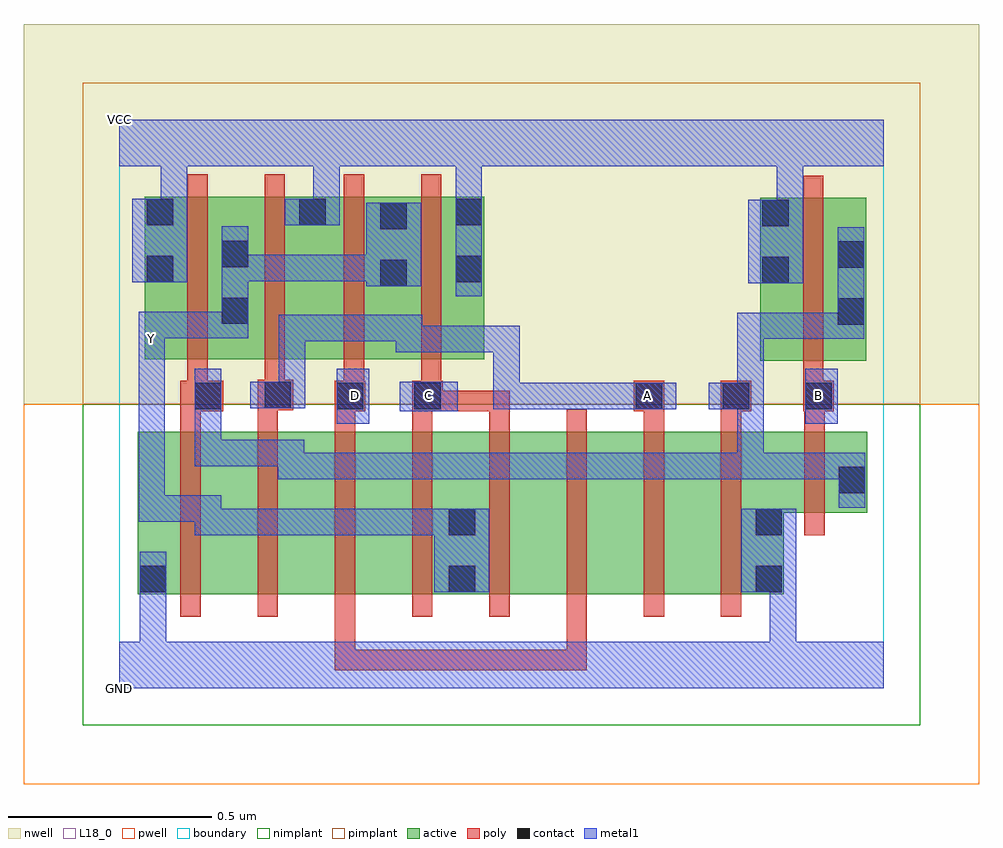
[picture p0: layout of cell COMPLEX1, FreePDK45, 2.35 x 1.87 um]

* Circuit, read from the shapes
.subckt COMPLEX1 A B C D GND VCC Y
M1 n1 n2 GND VSUBS nfet w=0.4u l=0.05u
M2 n3 A n1 VSUBS nfet w=0.4u l=0.05u
M3 n4 D n3 VSUBS nfet w=0.4u l=0.05u
M4 Y C n4 VSUBS nfet w=0.4u l=0.05u
M5 n5 C Y VSUBS nfet w=0.4u l=0.05u
M6 n6 D n5 VSUBS nfet w=0.4u l=0.05u
M7 n7 A n6 VSUBS nfet w=0.4u l=0.05u
M8 GND n2 n7 VSUBS nfet w=0.4u l=0.05u
M9 n2 B GND VSUBS nfet w=0.2u l=0.05u
M10 Y n2 VCC n8 pfet w=0.4u l=0.05u
M11 VCC A Y n8 pfet w=0.4u l=0.05u
M12 Y D VCC n8 pfet w=0.4u l=0.05u
M13 VCC C Y n8 pfet w=0.4u l=0.05u
M14 n2 B VCC n8 pfet w=0.4u l=0.05u
.ends

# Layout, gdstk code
import gdstk
lib = gdstk.Library(unit=1e-6, precision=1e-09)
def R(c, l, rs):  # rectangles x0, y0, x1, y1
    for r in rs: c.add(gdstk.rectangle(r[:2], r[2:], *l))
def A(c, l, x, y, w, h, nx, ny, dx, dy):  # array of equal rectangles
    R(c, l, [(x+i*dx, y+j*dy, x+i*dx+w, y+j*dy+h) for i in range(nx) for j in range(ny)])
active = (1, 0)
pwell = (2, 0)
nwell = (3, 0)
nimplant = (4, 0)
pimplant = (5, 0)
poly = (9, 0)
contact = (10, 0)
metal1 = (11, 0)
L18_0 = (18, 0)
boundary = (235, 0)

complex1 = lib.new_cell('COMPLEX1')
R(complex1, active, [(0.045,0.232,0.27,0.632), (0.045,0.232,0.12,0.632), (0.27,0.232,0.46,0.632), (0.46,0.232,0.65,0.632), (0.65,0.232,0.88,0.632), (0.805,0.232,1.03,0.632), (0.805,0.232,0.88,0.617), (1.03,0.232,1.22,0.632), (1.22,0.232,1.41,0.632), (1.41,0.232,1.635,0.632), (1.56,0.232,1.635,0.597), (1.56,0.432,1.84,0.632), (1.765,0.432,1.84,0.632), (1.577,0.807,1.652,1.207), (1.577,0.807,1.837,1.207), (1.762,0.807,1.837,1.155), (0.062,0.81,0.137,1.21), (0.062,0.81,0.322,1.21), (0.247,0.81,0.512,1.21), (0.437,0.81,0.712,1.21), (0.637,0.81,0.897,1.21), (0.822,0.81,0.897,1.21), (0.247,0.892,0.322,1.155), (0.437,0.907,0.512,1.21), (0.637,0.907,0.712,1.2)])
R(complex1, pwell, [(-0.235,-0.235,2.115,0.7)])
R(complex1, nwell, [(-0.235,0.7,2.115,1.635)])
R(complex1, nimplant, [(-0.09,-0.09,1.97,0.7)])
R(complex1, pimplant, [(-0.09,0.7,1.97,1.49)])
A(complex1, poly, 0.15, 0.177, 0.05, 0.51, 8, 1, 0.19, 0)
A(complex1, poly, 0.53, 0.637, 0.05, 0.095, 3, 1, 0.19, 0)
R(complex1, poly, [(0.53,0.045,0.58,0.227), (0.53,0.045,0.58,0.095), (0.53,0.045,0.827,0.095), (0.777,0.045,0.827,0.095), (0.777,0.045,0.827,0.095), (0.777,0.045,0.827,0.095), (0.777,0.045,0.96,0.095), (0.91,0.045,0.96,0.095), (0.91,0.045,0.96,0.095), (0.91,0.045,0.96,0.095), (0.91,0.045,1.15,0.095), (1.1,0.045,1.15,0.227), (1.1,0.045,1.15,0.095), (1.1,0.045,1.15,0.095), (1.1,0.045,1.15,0.095), (1.685,0.377,1.735,0.687), (0.15,0.637,0.2,0.732), (0.34,0.637,0.39,0.735), (1.29,0.637,1.34,0.732), (1.48,0.637,1.53,0.732), (1.685,0.637,1.735,0.732), (0.15,0.682,0.255,0.757), (0.53,0.682,0.605,0.757), (0.72,0.682,0.795,0.757), (0.745,0.682,0.96,0.732), (0.91,0.682,0.96,0.732), (0.91,0.682,0.96,0.732), (0.91,0.682,0.96,0.732), (1.265,0.682,1.34,0.757), (1.48,0.682,1.555,0.757), (1.682,0.682,1.757,0.757), (0.34,0.685,0.427,0.76), (0.167,0.707,0.217,0.805), (0.552,0.707,0.602,0.805), (0.742,0.707,0.792,0.805), (1.682,0.707,1.732,0.802), (0.357,0.71,0.407,0.805), (1.682,0.752,1.732,1.262), (0.167,0.755,0.217,1.265), (0.357,0.755,0.407,1.265), (0.552,0.755,0.602,1.265), (0.742,0.755,0.792,1.265)])
R(complex1, contact, [(0.05,0.237,0.115,0.302), (0.81,0.237,0.875,0.302), (1.565,0.237,1.63,0.302), (0.81,0.377,0.875,0.442), (1.565,0.377,1.63,0.442), (1.77,0.48,1.835,0.545), (0.185,0.687,0.25,0.752), (0.535,0.687,0.6,0.752), (0.725,0.687,0.79,0.752), (1.27,0.687,1.335,0.752), (1.485,0.687,1.55,0.752), (1.687,0.687,1.752,0.752), (0.357,0.69,0.422,0.755), (1.767,0.895,1.832,0.96), (0.252,0.897,0.317,0.962), (0.642,0.99,0.707,1.055), (1.582,0.997,1.647,1.062), (0.067,1,0.132,1.065), (0.827,1,0.892,1.065), (1.767,1.035,1.832,1.1), (0.252,1.037,0.317,1.102), (0.642,1.13,0.707,1.195), (1.582,1.137,1.647,1.202), (0.067,1.14,0.132,1.205), (0.442,1.14,0.507,1.205), (0.827,1.14,0.892,1.205)])
R(complex1, metal1, [(0,0,1.88,0.115), (0.05,0.05,0.115,0.115), (0.05,0.05,0.115,0.115), (0.05,0.05,0.115,0.267), (1.6,0.05,1.665,0.115), (1.6,0.05,1.665,0.115), (1.6,0.05,1.665,0.302), (0.05,0.202,0.115,0.337), (0.775,0.237,0.91,0.442), (1.53,0.237,1.665,0.442), (0.185,0.377,0.455,0.442), (0.185,0.377,0.25,0.475), (0.39,0.377,0.455,0.442), (0.39,0.377,0.455,0.442), (0.39,0.377,0.455,0.442), (0.39,0.377,0.595,0.442), (0.53,0.377,0.595,0.442), (0.53,0.377,0.595,0.442), (0.53,0.377,0.595,0.442), (0.53,0.377,0.84,0.442), (0.775,0.377,0.84,0.442), (0.775,0.377,0.84,0.442), (0.047,0.41,0.112,0.475), (0.047,0.41,0.25,0.475), (0.047,0.41,0.112,0.857), (0.185,0.41,0.25,0.475), (0.185,0.41,0.25,0.475), (1.77,0.445,1.835,0.58), (0.39,0.515,0.455,0.58), (0.39,0.515,0.455,0.58), (0.39,0.515,0.607,0.58), (0.39,0.515,0.455,0.612), (0.542,0.515,0.607,0.58), (0.542,0.515,0.607,0.58), (0.542,0.515,0.607,0.58), (0.542,0.515,0.847,0.58), (0.782,0.515,0.847,0.58), (0.782,0.515,0.847,0.58), (0.782,0.515,0.847,0.58), (0.782,0.515,0.985,0.58), (0.92,0.515,0.985,0.58), (0.92,0.515,1.122,0.58), (1.057,0.515,1.122,0.58), (1.057,0.515,1.122,0.58), (1.057,0.515,1.122,0.58), (1.057,0.515,1.31,0.58), (1.245,0.515,1.31,0.58), (1.245,0.515,1.31,0.58), (1.245,0.515,1.31,0.58), (1.245,0.515,1.447,0.58), (1.382,0.515,1.447,0.58), (1.382,0.515,1.585,0.58), (1.52,0.515,1.585,0.58), (1.52,0.515,1.585,0.58), (1.52,0.515,1.585,0.58), (1.52,0.515,1.835,0.58), (1.52,0.515,1.585,0.752), (1.77,0.515,1.835,0.58), (1.77,0.515,1.835,0.58), (0.185,0.547,0.25,0.612), (0.185,0.547,0.455,0.612), (0.185,0.547,0.25,0.717), (0.185,0.652,0.25,0.717), (0.185,0.652,0.25,0.717), (0.185,0.652,0.25,0.787), (0.535,0.652,0.615,0.787), (1.687,0.652,1.767,0.787), (0.69,0.682,0.832,0.755), (0.92,0.687,0.985,0.752), (0.92,0.687,0.985,0.752), (0.92,0.687,0.985,0.752), (0.92,0.687,1.16,0.752), (0.92,0.687,0.985,0.892), (1.095,0.687,1.16,0.752), (1.095,0.687,1.16,0.752), (1.095,0.687,1.16,0.752), (1.095,0.687,1.297,0.752), (1.232,0.687,1.297,0.752), (1.232,0.687,1.297,0.752), (1.232,0.687,1.37,0.752), (1.45,0.687,1.585,0.752), (1.52,0.687,1.585,0.752), (1.52,0.687,1.585,0.752), (1.52,0.687,1.585,0.925), (0.322,0.69,0.457,0.755), (0.392,0.69,0.457,0.755), (0.392,0.69,0.457,0.755), (0.392,0.69,0.457,0.92), (0.047,0.792,0.112,0.857), (0.047,0.792,0.112,0.857), (0.047,0.792,0.112,0.927), (0.68,0.827,0.985,0.892), (0.68,0.827,0.745,0.92), (0.92,0.827,0.985,0.892), (0.392,0.855,0.457,0.92), (0.392,0.855,0.595,0.92), (0.53,0.855,0.595,0.92), (0.53,0.855,0.71,0.92), (0.645,0.855,0.71,0.92), (0.645,0.855,0.745,0.92), (1.52,0.86,1.585,0.925), (1.52,0.86,1.832,0.925), (1.767,0.86,1.832,0.925), (1.767,0.86,1.832,0.925), (1.767,0.86,1.832,1.135), (0.047,0.862,0.112,0.927), (0.047,0.862,0.112,0.927), (0.047,0.862,0.112,0.927), (0.047,0.862,0.112,0.927), (0.047,0.862,0.317,0.927), (0.252,0.862,0.317,1.137), (0.827,0.965,0.892,1.24), (0.607,0.99,0.742,1.195), (1.547,0.997,1.682,1.202), (0.032,1,0.167,1.205), (0.252,1.002,0.317,1.067), (0.252,1.002,0.317,1.137), (0.252,1.002,0.455,1.067), (0.39,1.002,0.455,1.067), (0.39,1.002,0.455,1.067), (0.39,1.002,0.455,1.067), (0.39,1.002,0.607,1.067), (0.542,1.002,0.607,1.067), (0.542,1.002,0.672,1.067), (1.617,1.137,1.682,1.35), (0.102,1.14,0.167,1.35), (0.407,1.14,0.542,1.205), (0.477,1.14,0.542,1.35), (0.827,1.175,0.892,1.35), (0,1.285,1.88,1.4)])
A(complex1, L18_0, 0.047, 0.792, 0.065, 0.065, 1, 3, 0, 0.035)
R(complex1, L18_0, [(0,0,1.88,0.115), (0.05,0.05,0.115,0.115), (0.05,0.05,0.115,0.115), (0.05,0.05,0.115,0.267), (1.6,0.05,1.665,0.115), (1.6,0.05,1.665,0.115), (1.6,0.05,1.665,0.302), (0.05,0.202,0.115,0.337), (0.775,0.237,0.91,0.442), (1.53,0.237,1.665,0.442), (0.185,0.377,0.25,0.475), (0.185,0.377,0.455,0.442), (0.39,0.377,0.455,0.442), (0.39,0.377,0.455,0.442), (0.39,0.377,0.455,0.442), (0.39,0.377,0.595,0.442), (0.53,0.377,0.595,0.442), (0.53,0.377,0.595,0.442), (0.53,0.377,0.595,0.442), (0.53,0.377,0.84,0.442), (0.775,0.377,0.84,0.442), (0.775,0.377,0.84,0.442), (0.047,0.41,0.112,0.475), (0.047,0.41,0.112,0.857), (0.047,0.41,0.25,0.475), (0.185,0.41,0.25,0.475), (0.185,0.41,0.25,0.475), (0.535,0.652,0.615,0.787), (1.687,0.652,1.767,0.787), (0.69,0.682,0.832,0.755), (0.547,0.687,0.612,0.752), (0.727,0.687,0.792,0.752), (0.92,0.687,0.985,0.752), (0.92,0.687,0.985,0.752), (0.92,0.687,0.985,0.752), (0.92,0.687,0.985,0.892), (0.92,0.687,1.16,0.752), (1.095,0.687,1.16,0.752), (1.095,0.687,1.16,0.752), (1.095,0.687,1.16,0.752), (1.095,0.687,1.297,0.752), (1.232,0.687,1.297,0.752), (1.232,0.687,1.297,0.752), (1.232,0.687,1.37,0.752), (1.267,0.687,1.332,0.752), (1.687,0.687,1.752,0.752), (0.322,0.69,0.457,0.755), (0.392,0.69,0.457,0.755), (0.392,0.69,0.457,0.755), (0.392,0.69,0.457,0.92), (0.047,0.792,0.112,0.857), (0.047,0.792,0.112,0.927), (0.68,0.827,0.745,0.92), (0.68,0.827,0.985,0.892), (0.92,0.827,0.985,0.892), (0.392,0.855,0.457,0.92), (0.392,0.855,0.595,0.92), (0.53,0.855,0.595,0.92), (0.53,0.855,0.71,0.92), (0.645,0.855,0.71,0.92), (0.645,0.855,0.745,0.92), (0.047,0.862,0.112,0.927), (0.047,0.862,0.112,0.927), (0.047,0.862,0.112,0.927), (0.047,0.862,0.317,0.927), (0.252,0.862,0.317,1.137), (0.827,0.965,0.892,1.24), (0.607,0.99,0.742,1.195), (1.547,0.997,1.682,1.202), (0.032,1,0.167,1.205), (0.252,1.002,0.317,1.067), (0.252,1.002,0.317,1.137), (0.252,1.002,0.455,1.067), (0.39,1.002,0.455,1.067), (0.39,1.002,0.455,1.067), (0.39,1.002,0.455,1.067), (0.39,1.002,0.607,1.067), (0.542,1.002,0.607,1.067), (0.542,1.002,0.672,1.067), (1.617,1.137,1.682,1.35), (0.102,1.14,0.167,1.35), (0.407,1.14,0.542,1.205), (0.477,1.14,0.542,1.35), (0.827,1.175,0.892,1.35), (0,1.285,1.88,1.4)])
R(complex1, boundary, [(0,0,1.88,1.4)])
complex1.add(gdstk.Label('A', (1.3,0.72), layer=11, texttype=0))
complex1.add(gdstk.Label('B', (1.72,0.72), layer=11, texttype=0))
complex1.add(gdstk.Label('C', (0.76,0.72), layer=11, texttype=0))
complex1.add(gdstk.Label('D', (0.58,0.72), layer=11, texttype=0))
complex1.add(gdstk.Label('Y', (0.08,0.86), layer=11, texttype=0))
complex1.add(gdstk.Label('VCC', (0,1.4), layer=11, texttype=0))
complex1.add(gdstk.Label('GND', (0,0), layer=11, texttype=0))

lib.write_gds('COMPLEX1.gds')
